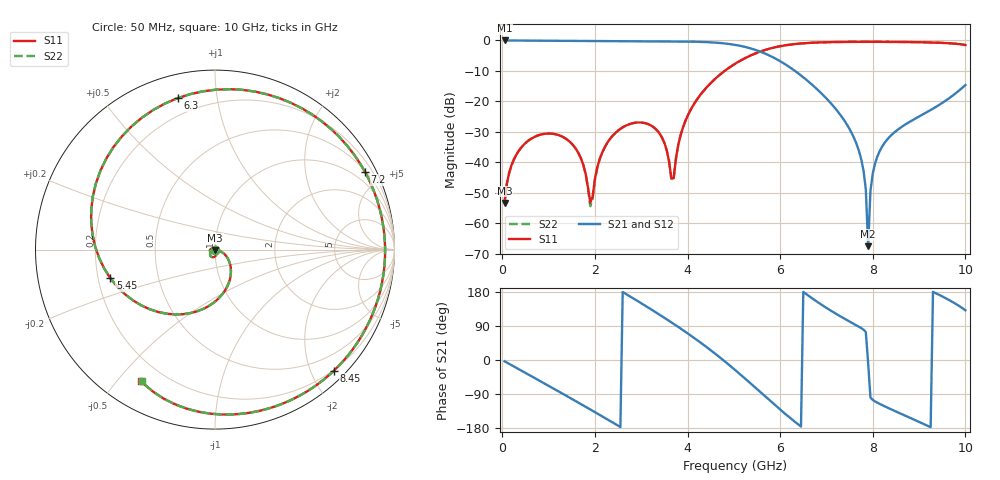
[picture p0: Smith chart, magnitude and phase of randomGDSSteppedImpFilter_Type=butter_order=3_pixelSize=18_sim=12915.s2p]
! freq	dB(S11)	phase(S11)	dB(S12)	phase(S12)
!  dB(S21)	phase(S21)	dB(S22)	phase(S22)
!S-par simulation data
#  GHz  S  DB  R 50
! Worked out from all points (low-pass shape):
!   200 points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, 50 MHz to 10 GHz, reference 50 ohm
!   highest |S21| = -0.01 dB at 50 MHz (marker M1); lowest = -67.6 dB at 7.9 GHz (marker M2)
!   |S21| within 3 dB of the highest: start of sweep to 5.447 GHz
!   lowest |S11| = -53.4 dB at 50 MHz (marker M3), VSWR 1.00, Z = 50 - j0.211 ohm
!   |S11| at or under -10 dB: start of sweep to 4.804 GHz
!   |S22| runs from -54.5 to -0.5 dB; largest |S21 - S12| = 0
!   S11 on the Smith chart (normalised r, x): 50 MHz: 1.00, -0.00; 5.45 GHz: 0.25, -0.13; 6.3 GHz: 0.11, +0.78; 7.2 GHz: 0.53, +4.05; 8.45 GHz: 0.19, -2.38; 10 GHz: 0.12, -0.58
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0.05  -53.43 -81.4  -0.01 -3.5  -0.01 -3.5  -52.70 -84.2
0.25  -39.10 -103.4  -0.03 -17.1  -0.03 -17.1  -39.12 -103.4
0.7  -31.65 -137.9  -0.07 -47.6  -0.07 -47.6  -31.65 -137.7
1.75  -40.89 141.1  -0.15 -119.9  -0.15 -119.9  -40.96 143.3
1.9  -53.29 65.7  -0.16 -130.5  -0.16 -130.5  -54.46 65.3
2.4  -31.03 -72.9  -0.21 -166.1  -0.21 -166.1  -31.03 -73.9
3.4  -30.67 -144.5  -0.31 119.2  -0.31 119.2  -30.67 -145.3
3.7  -45.28 -47.5  -0.33 95.4  -0.33 95.4  -45.59 -46.7
4.05  -23.29 -28.8  -0.39 66.2  -0.39 66.2  -23.30 -28.9
5.05  -7.46 -121.5  -1.53 -28.7  -1.53 -28.7  -7.46 -121.6
5.45  -4.37 -164.8  -3.03 -71.4  -3.03 -71.4  -4.37 -164.9
6.3  -1.22 103.9  -9.80 -161.3  -9.80 -161.3  -1.22 104.0
6.7  -0.75 66.8  -14.68 162.0  -14.68 162.0  -0.75 66.9
7.2  -0.53 27.3  -22.51 122.4  -22.51 122.4  -0.53 27.6
7.75  -0.46 -8.3  -38.99 84.2  -38.99 84.2  -0.46 -8.1
7.85  -0.46 -14.1  -48.98 73.7  -48.98 73.7  -0.46 -13.8
7.9  -0.46 -16.9  -67.58 -7.9  -67.58 -7.9  -0.46 -16.7
7.95  -0.46 -19.7  -49.44 -99.0  -49.44 -99.0  -0.46 -19.4
8  -0.46 -22.4  -43.68 -105.3  -43.68 -105.3  -0.46 -22.2
8.35  -0.48 -40.6  -31.89 -127.6  -31.89 -127.6  -0.48 -40.3
8.45  -0.49 -45.4  -30.42 -133.2  -30.42 -133.2  -0.49 -45.2
10  -1.51 -119.4  -14.66 131.2  -14.66 131.2  -1.51 -119.1
